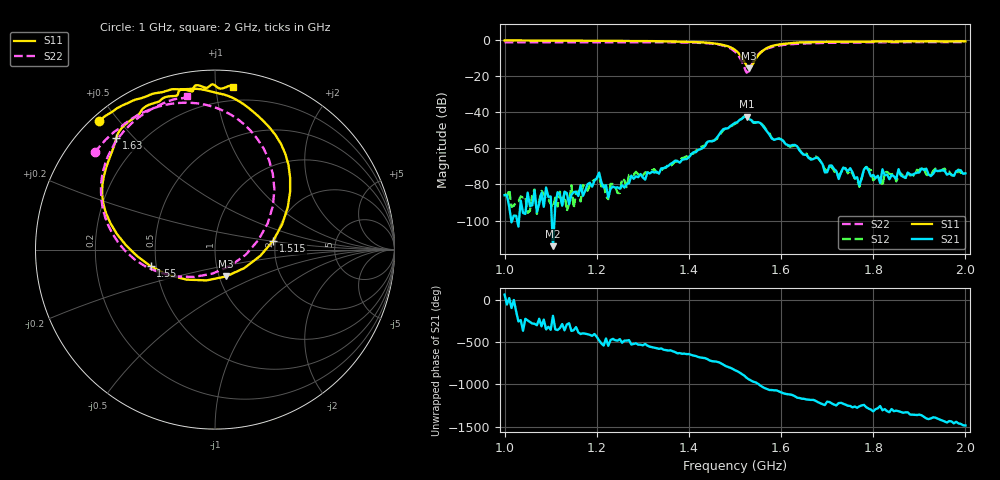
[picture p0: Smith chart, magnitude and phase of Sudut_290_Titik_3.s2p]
# Hz S RI R 50
! CMT, C1220, 16058040, 17.2.0/1
! Date: 14/08/2018 12:41:05
! Data: Format (Calibration Info)
! Freq  S11: Re/Im (F2)  S21: Re/Im (F2)  S12: Re/Im (F2)  S22: Re/Im (F2)
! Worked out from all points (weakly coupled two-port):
!   201 points, 1 GHz to 2 GHz, reference 50 ohm
!   highest |S21| = -42.45 dB at 1.525 GHz (marker M1); lowest = -114.2 dB at 1.105 GHz (marker M2)
!   lowest |S11| = -15.8 dB at 1.53 GHz (marker M3), VSWR 1.39, Z = 54 - j16.6 ohm
!   |S11| at or under -10 dB: 1.516 GHz to 1.546 GHz (30.62 MHz wide, 2 % of centre)
!   |S22| runs from -18.1 to -1.2 dB; largest |S21 - S12| = 0.00031
!   S11 on the Smith chart (normalised r, x): 1 GHz: 0.02, +0.44; 1.515 GHz: 1.94, +0.22; 1.55 GHz: 0.47, -0.10; 1.63 GHz: 0.11, +0.45; 2 GHz: 0.10, +1.11
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1e9  -0.6477 0.7137  2.31e-05 4.47e-05  -2.13e-05 5.06e-05  -0.6706 0.5412
1.105e9  -0.5478 0.7862  -1.93e-06 2.91e-07  5.93e-07 -2.25e-05  -0.6081 0.613
1.17e9  -0.4728 0.8225  3.92e-05 -2.82e-05  6.54e-05 -6.85e-05  -0.5584 0.6586
1.205e9  -0.4267 0.8397  -0.000102 -0.000186  -9.16e-05 -0.000149  -0.5274 0.6735
1.215e9  -0.4154 0.8424  -8.18e-05 1.26e-06  -8.73e-05 -6.24e-05  -0.5237 0.6806
1.335e9  -0.2107 0.8931  -0.000153 0.000127  -0.000184 0.000152  -0.3737 0.7759
1.45e9  0.1866 0.7895  0.00155 -0.000154  0.00157 -0.000222  0.019 0.7851
1.5e9  0.4187 0.3236  -0.00201 -0.00464  -0.00186 -0.00441  0.3309 0.3365
1.515e9  0.3242 0.0494  -0.00597 -0.00268  -0.00598 -0.00285  0.2427 0.0548
1.525e9  0.1645 -0.1023  -0.00704 0.0027  -0.00708 0.00271  0.0842 -0.0914
1.53e9  0.0626 -0.1492  -0.00483 0.0042  -0.00483 0.00425  -0.0144 -0.1338
1.55e9  -0.3577 -0.0935  0.000281 0.00529  0.000136 0.00528  -0.3815 -0.0976
1.63e9  -0.5504 0.6211  0.000617 -0.00107  0.000659 -0.00102  -0.6157 0.4647
1.67e9  -0.4361 0.7442  -0.000117 -0.000492  -0.000129 -0.00056  -0.5638 0.583
1.725e9  -0.3218 0.8215  -0.000111 -8.68e-05  -0.00016 -8.78e-05  -0.4902 0.6782
1.75e9  -0.2884 0.8447  -0.00028 -2.1e-05  -0.000248 1.94e-05  -0.4583 0.7092
1.77e9  -0.2357 0.8553  -9.35e-05 -4.56e-07  -8.51e-05 3.99e-06  -0.4342 0.7294
1.785e9  -0.2096 0.8601  -0.000297 5.81e-05  -0.000304 1.04e-05  -0.415 0.7433
1.815e9  -0.1806 0.8918  -0.000109 -6.86e-06  -0.00012 9.51e-05  -0.3788 0.7682
1.82e9  -0.1683 0.8909  -0.000181 0.000191  -3.07e-05 8.33e-05  -0.3729 0.7716
1.835e9  -0.1327 0.882  -4.92e-05 0.000131  -6.97e-05 0.000183  -0.3554 0.7823
2e9  0.1021 0.9067  0.000139 -0.000146  0.000105 -0.00017  -0.156 0.854
